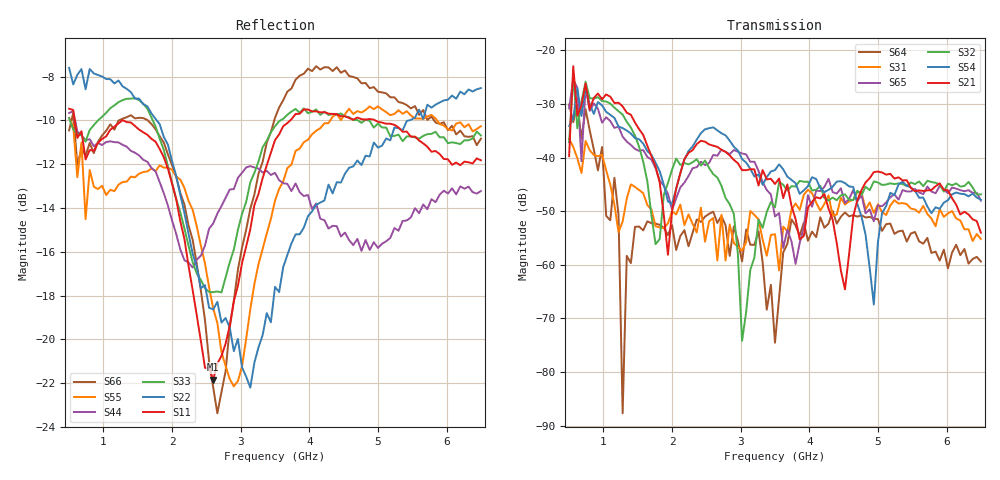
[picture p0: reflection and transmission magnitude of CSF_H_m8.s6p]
!Keysight Technologies,M9804A,MY58100912,A.14.10.03
!Date: Thursday, April 27, 2023 10:28:33
!Correction: S11(C  6-Port  )
!S12(C  6-Port  )
!S13(C  6-Port  )
!S14(C  6-Port  )
!S15(C  6-Port  )
!S16(C  6-Port  )
!S21(C  6-Port  )
!S22(C  6-Port  )
!S23(C  6-Port  )
!S24(C  6-Port  )
!S25(C  6-Port  )
!S26(C  6-Port  )
!S31(C  6-Port  )
!S32(C  6-Port  )
!S33(C  6-Port  )
!S34(C  6-Port  )
!S35(C  6-Port  )
!S36(C  6-Port  )
!S41(C  6-Port  )
!S42(C  6-Port  )
!S43(C  6-Port  )
!S44(C  6-Port  )
!S45(C  6-Port  )
!S46(C  6-Port  )
!S51(C  6-Port  )
!S52(C  6-Port  )
!S53(C  6-Port  )
!S54(C  6-Port  )
!S55(C  6-Port  )
!S56(C  6-Port  )
!S61(C  6-Port  )
!S62(C  6-Port  )
!S63(C  6-Port  )
!S64(C  6-Port  )
!S65(C  6-Port  )
!S66(C  6-Port  )
!S6P File: Measurement: :
# Hz S  RI  R 50
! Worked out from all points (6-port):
!   101 points, 500 MHz to 6.5 GHz, reference 50 ohm
!   strongest paths, dB at 500 MHz, 2 GHz, 3.5 GHz, 5 GHz, 6.5 GHz:
!     S21: -39.7, -50.0, -44.9, -42.6, -54.0
!     S54: -34.1, -48.6, -42.3, -55.8, -47.9
!     S32: -37.1, -42.3, -49.3, -44.7, -46.9
!     S65: -30.8, -49.7, -51.0, -48.9, -48.0
!     S31: -36.5, -50.0, -54.3, -48.7, -55.2
!     S64: -30.1, -52.6, -74.5, -51.5, -59.4
!   lowest |S11| = -21.8 dB at 2.6 GHz (marker M1), VSWR 1.18, Z = 42.7 + j1.92 ohm
!   |S11| at or under -10 dB: 582.2 MHz to 1.276 GHz (693.3 MHz wide, 74.6 % of centre); 1.287 GHz to 3.722 GHz (2.435 GHz wide, 97.2 % of centre); 4.961 GHz to end of sweep
